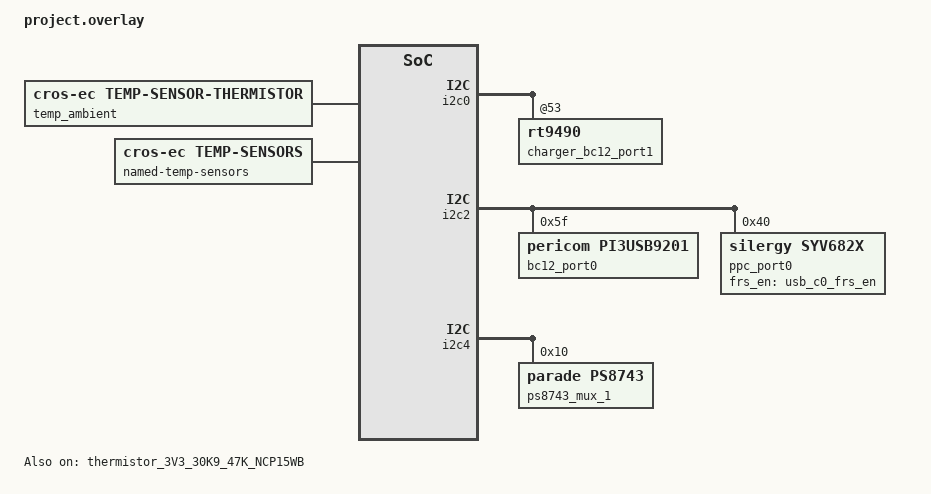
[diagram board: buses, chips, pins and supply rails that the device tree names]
/* Copyright 2022 The ChromiumOS Authors
 * Use of this source code is governed by a BSD-style license that can be
 * found in the LICENSE file.
 */

/* Corsola program common DTS includes */

#include <cros/thermistor/thermistor.dtsi>
#include "../common.dtsi"
#include "../power_signal.dtsi"
#include "../usba.dtsi"
#include "../ite_adc.dtsi"
#include "../ite_gpio.dtsi"
#include "../ite_keyboard.dtsi"
#include "../ite_i2c.dtsi"
#include "../ite_interrupts.dtsi"
#include "../ite_led.dtsi"
#include "../ite_motionsense.dtsi"
#include "../ite_usbc.dtsi"

/ {
	aliases {
		/*
		 * motion sense's <>_INT_EVENT is handled
		 * by alias. Using the alias, each driver creates
		 * its own <>_INT_EVENT.
		 */
		bmi3xx-int = &base_accel;
	};

	named-gpios {
		/delete-node/ usb_c0_ppc_bc12_int_odl;

		usb_c0_ppc_int_odl: usb_c0_ppc_int_odl {
			gpios = <&gpiod 1 GPIO_INPUT>;
			enum-name = "GPIO_USB_C0_PPC_INT_ODL";
		};

		usb_c0_bc12_int_odl: usb_c0_bc12_int_odl {
			gpios = <&gpiof 1 GPIO_INPUT>;
			enum-name = "GPIO_USB_C0_BC12_INT_ODL";
		};

		/delete-node/ usb_c0_ppc_frsinfo;

		usb_c0_frs_en: usb_c0_frs_en {
			gpios = <&gpiof 0 GPIO_OUTPUT_LOW>;
			enum-name = "GPIO_USB_C0_FRS_EN";
		};
	};

	unused-pins {
		unused-gpios =
			/* pg_pp5000_z2_od */
			<&gpiod 2 GPIO_INPUT>,
			/* pg_mt6315_proc_b_odl */
			<&gpioe 1 GPIO_INPUT>,
			/* ec_pen_chg_dis_odl */
			<&gpioh 3 GPIO_ODR_HIGH>,
			/* unnamed nc pins */
			<&gpioa 3 GPIO_INPUT_PULL_DOWN>,
			<&gpioa 6 GPIO_INPUT_PULL_DOWN>,
			<&gpioa 7 GPIO_INPUT_PULL_DOWN>,
			<&gpiod 7 GPIO_INPUT_PULL_DOWN>,
			<&gpioh 0 GPIO_INPUT_PULL_DOWN>,
			<&gpioh 6 GPIO_INPUT_PULL_DOWN>,
			<&gpioi 3 GPIO_INPUT_PULL_DOWN>,
			<&gpioi 6 GPIO_INPUT_PULL_DOWN>,
			<&gpiom 6 (GPIO_INPUT_PULL_DOWN | GPIO_VOLTAGE_1P8)>,
			/* spi_clk_gpg6 */
			<&gpiog 6 GPIO_INPUT_PULL_UP>,
			/* spi_mosi_gpg4 */
			<&gpiog 4 GPIO_OUTPUT_LOW>,
			/* spi_miso_gpg5 */
			<&gpiog 5 GPIO_OUTPUT_LOW>,
			/* spi_cs_gpg7 */
			<&gpiog 7 GPIO_OUTPUT_LOW>;
	};

	gpio-interrupts {
		int_base_imu: base_imu {
			handler = "motion_interrupt";
		};

		/delete-node/ usb_c0_ppc_bc12;

		int_usb_c0_ppc: usb_c0_ppc {
			irq-pin = <&usb_c0_ppc_int_odl>;
			flags = <GPIO_INT_EDGE_FALLING>;
			handler = "ppc_interrupt";
		};

		int_usb_c0_bc12: usb_c0_bc12 {
			irq-pin = <&usb_c0_bc12_int_odl>;
			flags = <GPIO_INT_EDGE_FALLING>;
			handler = "bc12_interrupt";
		};
	};

	usbc {

		port0@0 {
			bc12 = <&bc12_port0>;
			ppc_alt = <&ppc_port0>;
		};


		port1@1 {
			usb-mux-chain-1 {
				usb-muxes = <&ps8743_mux_1 &virtual_mux_1>;
			};
		};
	};

	named-adc-channels {
		adc_ambient: ambient {
			enum-name = "ADC_TEMP_SENSOR_2_AMBIENT";
			io-channels = <&adc0 5>;
		};
	};

	temp_ambient: ambient {
		compatible = "cros-ec,temp-sensor-thermistor";
		thermistor = <&thermistor_3V3_30K9_47K_NCP15WB>;
		adc = <&adc_ambient>;
	};

	named-temp-sensors {
		compatible = "cros-ec,temp-sensors";
		ambient {
			temp_host_high = <56>;
			temp_host_halt = <80>;
			temp_host_release_high = <42>;
			sensor = <&temp_ambient>;
		};
		temp_charger: charger {
			temp_host_high = <68>;
			temp_host_halt = <90>;
			temp_host_release_high = <59>;
			sensor = <&charger_bc12_port1>;
		};
	};

	thermistor_rt9490: thermistor-rt9490 {
		status = "okay";
		compatible = "cros-ec,thermistor";
		scaling-factor = <3>;
		num-pairs = <21>;
		steinhart-reference-mv = <4900>;
		steinhart-reference-res = <10000>;

		sample-datum-0 {
			milivolt = <(731 / 3)>;
			temp = <0>;
			sample-index = <0>;
		};

		sample-datum-1 {
			milivolt = <(708 / 3)>;
			temp = <5>;
			sample-index = <1>;
		};

		sample-datum-2 {
			milivolt = <(682 / 3)>;
			temp = <10>;
			sample-index = <2>;
		};

		sample-datum-3 {
			milivolt = <(653 / 3)>;
			temp = <15>;
			sample-index = <3>;
		};

		sample-datum-4 {
			milivolt = <(622 / 3)>;
			temp = <20>;
			sample-index = <4>;
		};

		sample-datum-5 {
			milivolt = <(589 / 3)>;
			temp = <25>;
			sample-index = <5>;
		};

		sample-datum-6 {
			milivolt = <(554 / 3)>;
			temp = <30>;
			sample-index = <6>;
		};

		sample-datum-7 {
			milivolt = <(519 / 3)>;
			temp = <35>;
			sample-index = <7>;
		};

		sample-datum-8 {
			milivolt = <(483 / 3)>;
			temp = <40>;
			sample-index = <8>;
		};

		sample-datum-9 {
			milivolt = <(446 / 3)>;
			temp = <45>;
			sample-index = <9>;
		};

		sample-datum-10 {
			milivolt = <(411 / 3)>;
			temp = <50>;
			sample-index = <10>;
		};
		sample-datum-11 {
			milivolt = <(376 / 3)>;
			temp = <55>;
			sample-index = <11>;
		};

		sample-datum-12 {
			milivolt = <(343 / 3)>;
			temp = <60>;
			sample-index = <12>;
		};

		sample-datum-13 {
			milivolt = <(312 / 3)>;
			temp = <65>;
			sample-index = <13>;
		};

		sample-datum-14 {
			milivolt = <(284 / 3)>;
			temp = <70>;
			sample-index = <14>;
		};

		sample-datum-15 {
			milivolt = <(257 / 3)>;
			temp = <75>;
			sample-index = <15>;
		};

		sample-datum-16 {
			milivolt = <(232 / 3)>;
			temp = <80>;
			sample-index = <16>;
		};

		sample-datum-17 {
			milivolt = <(209 / 3)>;
			temp = <85>;
			sample-index = <17>;
		};

		sample-datum-18 {
			milivolt = <(188 / 3)>;
			temp = <90>;
			sample-index = <18>;
		};

		sample-datum-19 {
			milivolt = <(169 / 3)>;
			temp = <95>;
			sample-index = <19>;
		};

		sample-datum-20 {
			milivolt = <(152 / 3)>;
			temp = <100>;
			sample-index = <20>;
		};
	};

	/*
	 * Declare mutexes used by sensor drivers.
	 * A mutex node is used to create an instance of mutex_t.
	 * A mutex node is referenced by a sensor node if the
	 * corresponding sensor driver needs to use the
	 * instance of the mutex.
	 */
	motionsense-mutex {
		base_mutex_bmi323: bmi323-mutex {
		};
	};

	/* Rotation matrix used by drivers. */
	motionsense-rotation-ref {
		base_rot_ref_bmi: base-rotation-ref-bmi {
			mat33 = <0 1 0
				 (-1) 0 0
				 0 0 1>;
		};
	};

	/*
	 * Driver specific data. A driver-specific data can be shared with
	 * different motion sensors while they are using the same driver.
	 *
	 * If a node's compatible starts with "cros-ec,accelgyro-", it is for
	 * a common structure defined in accelgyro.h.
	 * e.g) compatible = "cros-ec,accelgyro-als-drv-data" is for
	 * "struct als_drv_data_t" in accelgyro.h
	 */
	motionsense-sensor-data {
		bmi323_data: bmi323-drv-data {
			compatible = "cros-ec,drvdata-bmi3xx";
			status = "okay";
		};
	};

	motionsense-sensor-alt {
		alt_base_accel: alt-base-accel {
			compatible = "cros-ec,bmi3xx-accel";
			status = "okay";

			active-mask = "SENSOR_ACTIVE_S0_S3";
			location = "MOTIONSENSE_LOC_BASE";
			mutex = <&base_mutex_bmi323>;
			port = <&i2c_sensor>;
			rot-standard-ref = <&base_rot_ref_bmi>;
			drv-data = <&bmi323_data>;
			alternate-for = <&base_accel>;
			configs {
				compatible =
					"cros-ec,motionsense-sensor-config";
				ec-s0 {
					odr = <(10000 | ROUND_UP_FLAG)>;
				};
				ec-s3 {
					odr = <(10000 | ROUND_UP_FLAG)>;
				};
			};
		};

		alt_base_gyro: alt-base-gyro {
			compatible = "cros-ec,bmi3xx-gyro";
			status = "okay";

			active-mask = "SENSOR_ACTIVE_S0_S3";
			location = "MOTIONSENSE_LOC_BASE";
			mutex = <&base_mutex_bmi323>;
			port = <&i2c_sensor>;
			rot-standard-ref = <&base_rot_ref_bmi>;
			drv-data = <&bmi323_data>;
			alternate-for = <&base_gyro>;
		};
	};

	led-colors {
		compatible = "cros-ec,led-policy";

		/* Tentacruel LED bat charge */
		bat-power-state-charge {
			charge-state = "PWR_STATE_CHARGE";
			/* Battery percent range (>= Empty, <= 94%) */
			batt-lvl = <BATTERY_LEVEL_EMPTY
				   (BATTERY_LEVEL_NEAR_FULL - 3)>;
			color-0 {
				led-color = <&color_battery_amber>;
			};
		};

		bat-power-state-charge-near-full {
			charge-state = "PWR_STATE_CHARGE";
			/* Battery percent range (>= 95%, <= Full) */
			batt-lvl = <(BATTERY_LEVEL_NEAR_FULL - 2)
				     BATTERY_LEVEL_FULL>;
			color-0 {
				led-color = <&color_battery_white>;
			};
		};

		/* Tentacruel LED bat discharge */
		bat-power-state-discharge {
			charge-state = "PWR_STATE_DISCHARGE";
			chipset-state = "POWER_S0";
			/* Battery percent range (>= 11%, <= Full) */
			batt-lvl = <(BATTERY_LEVEL_LOW + 1) BATTERY_LEVEL_FULL>;

			color-0 {
				led-color = <&color_battery_white>;
			};
		};

		bat-power-state-discharge-s3 {
			charge-state = "PWR_STATE_DISCHARGE";
			chipset-state = "POWER_S3";

			color-0 {
				led-color = <&color_battery_white>;
				period-ms = <1000>;
			};

			color-1 {
				led-color = <&color_battery_off>;
				period-ms = <3000>;
			};
		};

		bat-power-state-discharge-s5 {
			charge-state = "PWR_STATE_DISCHARGE";
			chipset-state = "POWER_S5";
			color-0 {
				led-color = <&color_battery_off>;
			};
		};

		/* Tentacruel LED bat error */
		bat-power-state-error {
			charge-state = "PWR_STATE_ERROR";
			chipset-state = "POWER_S0";

			color-0 {
				led-color = <&color_battery_amber>;
				period-ms = <1000>;
			};

			color-1 {
				led-color = <&color_battery_off>;
				period-ms = <1000>;
			};
		};

		bat-power-state-error-s3 {
			charge-state = "PWR_STATE_ERROR";
			chipset-state = "POWER_S3";

			color-0 {
				led-color = <&color_battery_white>;
				period-ms = <1000>;
			};

			color-1 {
				led-color = <&color_battery_off>;
				period-ms = <3000>;
			};
		};

		bat-power-state-error-s5 {
			charge-state = "PWR_STATE_ERROR";
			chipset-state = "POWER_S5";

			color-0 {
				led-color = <&color_battery_off>;
			};
		};
	};

	pwm-led-pins {
		compatible = "cros-ec,pwm-led-pins";

		/* Overwrite Power LED white to off */
		color_power_white: color-power-white {
			led-color = "LED_WHITE";
			led-id = "EC_LED_ID_POWER_LED";
			led-pwms = <&led_power_white>;
			led-values = <0>;
		};
	};

	pwm-led-pins {
		compatible = "cros-ec,pwm-led-pins";

		/* Overwrite Power LED white to off */
		color_power_white: color-power-white {
			led-color = "LED_WHITE";
			led-id = "EC_LED_ID_POWER_LED";
			led-pwms = <&led_power_white>;
			led-values = <0>;
		};
	};

	batteries {
		default_battery: dynapack_c140254 {
			compatible = "dynapack,c140254", "battery-smart";
		};
	};

	/* tentacruel-specific fw_config fields. */
	tentacruel-fw-config {
		compatible = "cros-ec,cbi-fw-config";
		/*
		 * FW_CONFIG field to describe mainboard orientation in chassis.
		 */
		base-gyro {
			enum-name = "FW_BASE_GYRO";
			start = <8>;
			size = <2>;

			None {
				compatible = "cros-ec,cbi-fw-config-value";
				enum-name = "FW_BASE_NONE";
				value = <0>;
			};
			icm42607 {
				compatible = "cros-ec,cbi-fw-config-value";
				enum-name = "FW_BASE_ICM42607";
				value = <1>;
				default;
			};
			bmi323 {
				compatible = "cros-ec,cbi-fw-config-value";
				enum-name = "FW_BASE_BMI323";
				value = <2>;
			};
		};
	};
};


&adc0 {
	pinctrl-0 = <&adc0_ch0_gpi0_default
		     &adc0_ch1_gpi1_default
		     &adc0_ch2_gpi2_default
		     &adc0_ch5_gpi5_default
		     &adc0_ch7_gpi7_default>;
};

&thermistor_3V3_30K9_47K_NCP15WB {
	status = "okay";
};


&i2c0 {
	charger_bc12_port1: rt9490@53 {
		thermistor = <&thermistor_rt9490>;
	};
};

&i2c2 {
	bc12_port0: pi3usb9201@5f {
		compatible = "pericom,pi3usb9201";
		status = "okay";
		reg = <0x5f>;
		irq = <&int_usb_c0_bc12>;
	};

	ppc_port0: syv682x@40 {
		compatible = "silergy,syv682x";
		status = "okay";
		reg = <0x40>;
		frs_en_gpio = <&usb_c0_frs_en>;
	};
};

&i2c4 {
	/delete-node/ tusb1064-mux-1@44;

	ps8743_mux_1: ps8743-mux-1@10 {
		compatible = "parade,ps8743";
		reg = <0x10>;
		board-init = "ps8743_eq_c1_setting";
	};
};
